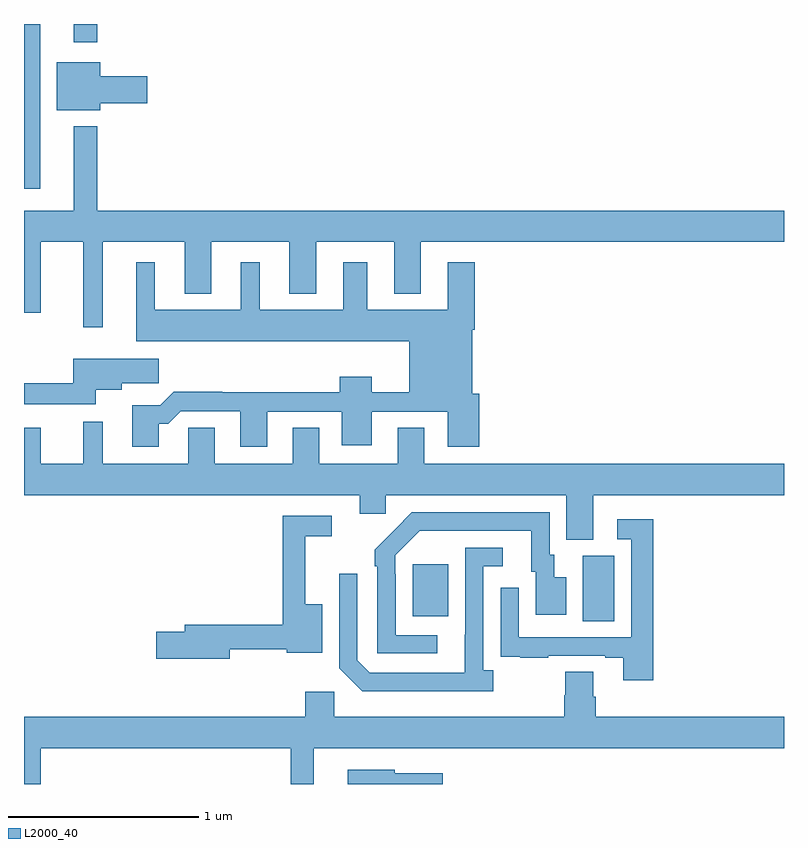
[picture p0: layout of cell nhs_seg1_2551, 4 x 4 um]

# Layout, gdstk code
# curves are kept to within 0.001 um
import gdstk
lib = gdstk.Library(unit=1e-6, precision=1e-09)
def R(c, l, rs):  # rectangles x0, y0, x1, y1
    for r in rs: c.add(gdstk.rectangle(r[:2], r[2:], *l))
def P(c, l, *ps):  # polygons
    for p in ps: c.add(gdstk.Polygon(p, *l))
L2000_40 = (2000, 40)

nhs_seg1_2551 = lib.new_cell('nhs_seg1_2551')
R(nhs_seg1_2551, L2000_40, [(251.942,563.056,252.106,563.4), (251.045,563.081,251.233,563.356), (249,565.331,249.085,566.199), (249.263,566.103,249.385,566.199)])
P(nhs_seg1_2551, L2000_40, [(249.4,565.781),(249.649,565.781),(249.649,565.923),(249.4,565.923),(249.4,565.999),(249.173,565.999),(249.173,565.745),(249.4,565.745)],
  [(249.415,565.052),(249.845,565.052),(249.845,564.779),(249.985,564.779),(249.985,565.052),(250.397,565.052),(250.397,564.779),(250.537,564.779),(250.537,565.052),(250.949,565.052),(250.949,564.779),(251.089,564.779),(251.089,565.052),(253,565.052),(253,565.216),(249.385,565.216),(249.385,565.66),(249.263,565.66),(249.263,565.216),(249,565.216),(249,564.678),(249.088,564.678),(249.088,565.052),(249.311,565.052),(249.311,564.603),(249.415,564.603)],
  [(249.709,564.095),(249.758,564.095),(249.825,564.162),(250.139,564.162),(250.139,563.973),(250.279,563.973),(250.279,564.159),(250.673,564.159),(250.673,563.981),(250.831,563.981),(250.831,564.159),(251.231,564.159),(251.231,563.973),(251.396,563.973),(251.396,564.252),(251.359,564.252),(251.359,564.59),(251.372,564.59),(251.372,564.946),(251.231,564.946),(251.231,564.694),(250.807,564.694),(250.807,564.946),(250.679,564.946),(250.679,564.694),(250.24,564.694),(250.24,564.946),(250.142,564.946),(250.142,564.694),(249.688,564.694),(249.688,564.946),(249.59,564.946),(249.59,564.53),(251.027,564.53),(251.027,564.26),(250.831,564.26),(250.831,564.343),(250.661,564.343),(250.661,564.26),(250.043,564.26),(250.043,564.263),(249.788,564.263),(249.718,564.193),(249.569,564.193),(249.569,563.973),(249.709,563.973)],
  [(249.377,564.275),(249.514,564.275),(249.514,564.307),(249.709,564.307),(249.709,564.436),(249.259,564.436),(249.259,564.307),(249,564.307),(249,564.198),(249.377,564.198)],
  [(251.995,563.72),(253,563.72),(253,563.884),(251.107,563.884),(251.107,564.074),(250.967,564.074),(250.967,563.884),(250.555,563.884),(250.555,564.074),(250.415,564.074),(250.415,563.884),(250.003,563.884),(250.003,564.074),(249.864,564.074),(249.864,563.884),(249.415,563.884),(249.415,564.106),(249.311,564.106),(249.311,563.884),(249.088,563.884),(249.088,564.073),(249,564.073),(249,563.72),(250.766,563.72),(250.766,563.622),(250.905,563.622),(250.905,563.72),(251.855,563.72),(251.855,563.485),(251.995,563.485)],
  [(251.176,562.983),(250.956,562.983),(250.956,563.303),(250.953,563.303),(250.953,563.403),(251.082,563.532),(251.669,563.532),(251.669,563.316),(251.693,563.316),(251.693,563.091),(251.854,563.091),(251.854,563.287),(251.791,563.287),(251.791,563.406),(251.766,563.406),(251.766,563.628),(251.042,563.628),(250.845,563.433),(250.845,563.345),(250.86,563.345),(250.86,562.887),(251.176,562.887)],
  [(250.084,562.908),(250.382,562.908),(250.382,562.889),(250.57,562.889),(250.57,563.146),(250.481,563.146),(250.481,563.502),(250.621,563.502),(250.621,563.61),(250.363,563.61),(250.363,563.036),(249.845,563.036),(249.845,563),(249.696,563),(249.696,562.858),(250.084,562.858)],
  [(252.311,563.593),(252.123,563.593),(252.123,563.487),(252.195,563.487),(252.195,562.971),(251.604,562.971),(251.604,563.233),(251.508,563.233),(251.508,562.978),(251.509,562.978),(251.509,562.869),(251.611,562.869),(251.611,562.863),(251.759,562.863),(251.759,562.875),(252.059,562.875),(252.059,562.863),(252.155,562.863),(252.155,562.746),(252.311,562.746)],
  [(251.47,562.798),(251.418,562.798),(251.418,563.346),(251.521,563.346),(251.521,563.442),(251.322,563.442),(251.321,562.785),(250.821,562.785),(250.755,562.851),(250.755,563.305),(250.659,563.305),(250.659,562.809),(250.78,562.688),(251.47,562.688)],
  [(250.481,562.552),(249,562.552),(249,562.199),(249.088,562.199),(249.088,562.388),(250.404,562.388),(250.404,562.199),(250.525,562.199),(250.525,562.388),(253,562.388),(253,562.552),(252.008,562.552),(252.008,562.658),(251.995,562.658),(251.995,562.79),(251.848,562.79),(251.848,562.665),(251.843,562.665),(251.843,562.552),(250.632,562.552),(250.632,562.684),(250.481,562.684)],
  [(251.203,562.255),(250.95,562.255),(250.95,562.273),(250.703,562.273),(250.703,562.199),(251.203,562.199)])

lib.write_gds('nhs_seg1_2551.gds')
